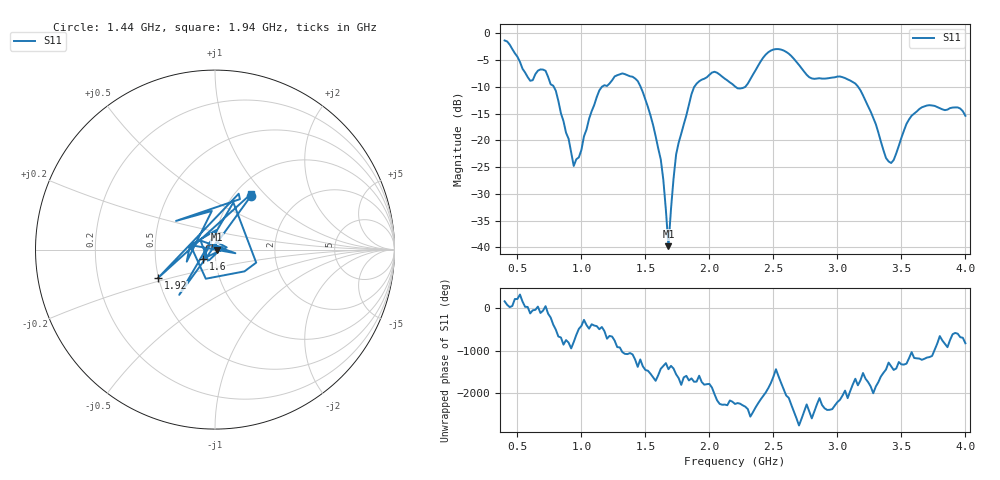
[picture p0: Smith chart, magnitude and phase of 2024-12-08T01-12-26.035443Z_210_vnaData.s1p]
!Created with skrf (http://scikit-rf.org).
# Hz S RI R 50.0
!freq ReS11 ImS11
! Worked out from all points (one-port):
!   181 points, 400 MHz to 4 GHz, reference 50 ohm
!   lowest |S11| = -39.8 dB at 1.68 GHz (marker M1), VSWR 1.02, Z = 51 + j0.0193 ohm
!   |S11| at or under -10 dB: 784.3 MHz to 1.16 GHz (375.6 MHz wide, 38.6 % of centre); 1.462 GHz to 1.882 GHz (419.9 MHz wide, 25.1 % of centre); 3.162 GHz to end of sweep (the widest 3 of 4)
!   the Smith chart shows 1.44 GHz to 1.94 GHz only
!   S11 on the Smith chart (normalised r, x): 1.44 GHz: 1.19, +0.82; 1.6 GHz: 0.87, -0.09; 1.92 GHz: 0.50, -0.18; 1.94 GHz: 1.17, +0.84
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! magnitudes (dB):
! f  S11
! 400 MHz  -1.3
! 600 MHz  -8.9
! 720 MHz  -7.0
! 860 MHz  -16.4
! 940 MHz  -24.8
! 1.14 GHz  -10.7
! 1.3 GHz  -7.7
! 1.44 GHz  -8.9
! 1.6 GHz  -21.5
! 1.64 GHz  -27.4
! 1.68 GHz  -39.8
! 1.72 GHz  -27.1
! 1.76 GHz  -20.4
! 1.86 GHz  -11.4
! 1.92 GHz  -9.0
! 1.94 GHz  -8.7
! 2.04 GHz  -7.2
! 2.2 GHz  -9.9
! 2.28 GHz  -10.0
! 2.48 GHz  -3.2
! 2.66 GHz  -4.8
! 2.8 GHz  -8.4
! 3.1 GHz  -8.8
! 3.2 GHz  -11.6
! 3.4 GHz  -23.9
! 3.56 GHz  -16.1
! 3.72 GHz  -13.4
! 4 GHz  -15.4
